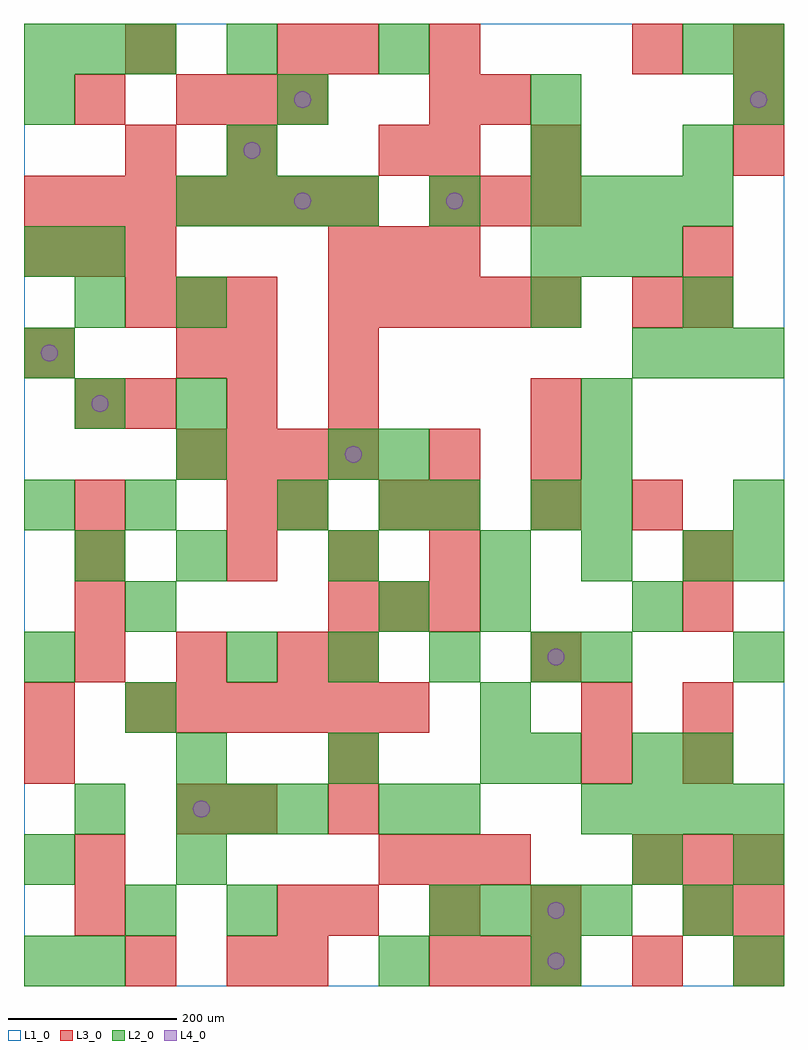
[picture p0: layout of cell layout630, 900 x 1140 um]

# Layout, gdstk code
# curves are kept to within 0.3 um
import gdstk
lib = gdstk.Library(unit=1e-6, precision=1e-09)
def R(c, l, rs):  # rectangles x0, y0, x1, y1
    for r in rs: c.add(gdstk.rectangle(r[:2], r[2:], *l))
def A(c, l, x, y, w, h, nx, ny, dx, dy):  # array of equal rectangles
    R(c, l, [(x+i*dx, y+j*dy, x+i*dx+w, y+j*dy+h) for i in range(nx) for j in range(ny)])
def P(c, l, *ps):  # polygons
    for p in ps: c.add(gdstk.Polygon(p, *l))
L1_0 = (1, 0)
L2_0 = (2, 0)
L3_0 = (3, 0)
L4_0 = (4, 0)

layout630 = lib.new_cell('layout630')
R(layout630, L1_0, [(0,0,900,1140)])
A(layout630, L2_0, 480, 60, 60, 60, 4, 1, 60, 0)
A(layout630, L2_0, 180, 180, 60, 60, 3, 1, 60, 0)
A(layout630, L2_0, 480, 180, 60, 60, 1, 3, 0, 360)
A(layout630, L2_0, 660, 180, 60, 60, 4, 1, 60, 0)
A(layout630, L2_0, 180, 240, 60, 60, 3, 2, 180, 240)
A(layout630, L2_0, 120, 300, 60, 60, 1, 3, 0, 120)
A(layout630, L2_0, 0, 360, 60, 60, 1, 3, 0, 180)
A(layout630, L2_0, 240, 360, 60, 60, 4, 1, 120, 0)
A(layout630, L2_0, 660, 480, 60, 60, 1, 4, 0, 60)
A(layout630, L2_0, 720, 720, 60, 60, 3, 1, 60, 0)
A(layout630, L2_0, 600, 840, 60, 60, 3, 1, 60, 0)
A(layout630, L2_0, 180, 900, 60, 60, 4, 1, 60, 0)
A(layout630, L2_0, 600, 900, 60, 60, 4, 1, 60, 0)
A(layout630, L2_0, 0, 1020, 60, 60, 3, 1, 300, 0)
A(layout630, L2_0, 0, 1080, 60, 60, 3, 1, 60, 0)
R(layout630, L2_0, [(0,0,60,60), (60,0,120,60), (420,0,480,60), (600,0,660,60), (840,0,900,60), (120,60,180,120), (240,60,300,120), (780,60,840,120), (0,120,60,180), (180,120,240,180), (720,120,780,180), (840,120,900,180), (60,180,120,240), (420,180,480,240), (600,240,660,300), (720,240,780,300), (780,240,840,300), (540,300,600,360), (660,360,720,420), (840,360,900,420), (420,420,480,480), (540,420,600,480), (720,420,780,480), (60,480,120,540), (780,480,840,540), (840,480,900,540), (300,540,360,600), (420,540,480,600), (600,540,660,600), (840,540,900,600), (180,600,240,660), (360,600,420,660), (420,600,480,660), (60,660,120,720), (180,660,240,720), (60,780,120,840), (180,780,240,840), (600,780,660,840), (780,780,840,840), (0,840,60,900), (60,840,120,900), (240,960,300,1020), (600,960,660,1020), (780,960,840,1020), (840,1020,900,1080), (240,1080,300,1140), (420,1080,480,1140), (780,1080,840,1140), (840,1080,900,1140)])
A(layout630, L3_0, 480, 0, 60, 60, 3, 2, 60, 900)
A(layout630, L3_0, 360, 60, 60, 60, 3, 1, 120, 0)
A(layout630, L3_0, 420, 120, 60, 60, 3, 1, 60, 0)
A(layout630, L3_0, 720, 120, 60, 60, 3, 1, 60, 0)
A(layout630, L3_0, 120, 300, 60, 60, 6, 1, 60, 0)
A(layout630, L3_0, 60, 360, 60, 60, 3, 1, 120, 0)
A(layout630, L3_0, 360, 360, 60, 60, 1, 3, 0, 360)
A(layout630, L3_0, 60, 420, 60, 60, 1, 3, 0, 60)
A(layout630, L3_0, 360, 420, 60, 60, 3, 2, 60, 420)
A(layout630, L3_0, 240, 480, 60, 60, 3, 1, 120, 0)
A(layout630, L3_0, 480, 540, 60, 60, 3, 1, 120, 0)
A(layout630, L3_0, 180, 600, 60, 60, 4, 1, 60, 0)
A(layout630, L3_0, 120, 660, 60, 60, 3, 1, 120, 0)
A(layout630, L3_0, 120, 780, 60, 60, 3, 1, 60, 0)
A(layout630, L3_0, 360, 780, 60, 60, 5, 1, 60, 0)
A(layout630, L3_0, 0, 840, 60, 60, 3, 1, 60, 0)
A(layout630, L3_0, 0, 900, 60, 60, 7, 1, 60, 0)
A(layout630, L3_0, 480, 960, 60, 60, 1, 3, 0, 60)
A(layout630, L3_0, 840, 960, 60, 60, 1, 3, 0, 60)
A(layout630, L3_0, 180, 1020, 60, 60, 3, 1, 60, 0)
R(layout630, L3_0, [(120,0,180,60), (240,0,300,60), (300,0,360,60), (720,0,780,60), (840,0,900,60), (60,60,120,120), (300,60,360,120), (780,60,840,120), (840,60,900,120), (60,120,120,180), (180,180,240,240), (240,180,300,240), (360,180,420,240), (0,240,60,300), (360,240,420,300), (660,240,720,300), (780,240,840,300), (0,300,60,360), (660,300,720,360), (780,300,840,360), (600,360,660,420), (780,420,840,480), (780,480,840,540), (240,540,300,600), (300,540,360,600), (420,540,480,600), (480,600,540,660), (600,600,660,660), (60,660,120,720), (600,660,660,720), (0,720,60,780), (180,720,240,780), (240,720,300,780), (720,780,780,840), (780,780,840,840), (780,840,840,900), (120,960,180,1020), (240,960,300,1020), (420,960,480,1020), (600,960,660,1020), (60,1020,120,1080), (540,1020,600,1080), (120,1080,180,1140), (300,1080,360,1140), (720,1080,780,1140)])
P(layout630, L4_0, [(40,750),(39.239,753.827),(37.071,757.071),(33.827,759.239),(30,760),(26.173,759.239),(22.929,757.071),(20.761,753.827),(20,750),(20.761,746.173),(22.929,742.929),(26.173,740.761),(30,740),(33.827,740.761),(37.071,742.929),(39.239,746.173)],
  [(100,690),(99.239,693.827),(97.071,697.071),(93.827,699.239),(90,700),(86.173,699.239),(82.929,697.071),(80.761,693.827),(80,690),(80.761,686.173),(82.929,682.929),(86.173,680.761),(90,680),(93.827,680.761),(97.071,682.929),(99.239,686.173)],
  [(220,210),(219.239,213.827),(217.071,217.071),(213.827,219.239),(210,220),(206.173,219.239),(202.929,217.071),(200.761,213.827),(200,210),(200.761,206.173),(202.929,202.929),(206.173,200.761),(210,200),(213.827,200.761),(217.071,202.929),(219.239,206.173)],
  [(280,990),(279.239,993.827),(277.071,997.071),(273.827,999.239),(270,1000),(266.173,999.239),(262.929,997.071),(260.761,993.827),(260,990),(260.761,986.173),(262.929,982.929),(266.173,980.761),(270,980),(273.827,980.761),(277.071,982.929),(279.239,986.173)],
  [(340,930),(339.239,933.827),(337.071,937.071),(333.827,939.239),(330,940),(326.173,939.239),(322.929,937.071),(320.761,933.827),(320,930),(320.761,926.173),(322.929,922.929),(326.173,920.761),(330,920),(333.827,920.761),(337.071,922.929),(339.239,926.173)],
  [(340,1050),(339.239,1053.827),(337.071,1057.071),(333.827,1059.239),(330,1060),(326.173,1059.239),(322.929,1057.071),(320.761,1053.827),(320,1050),(320.761,1046.173),(322.929,1042.929),(326.173,1040.761),(330,1040),(333.827,1040.761),(337.071,1042.929),(339.239,1046.173)],
  [(400,630),(399.239,633.827),(397.071,637.071),(393.827,639.239),(390,640),(386.173,639.239),(382.929,637.071),(380.761,633.827),(380,630),(380.761,626.173),(382.929,622.929),(386.173,620.761),(390,620),(393.827,620.761),(397.071,622.929),(399.239,626.173)],
  [(520,930),(519.239,933.827),(517.071,937.071),(513.827,939.239),(510,940),(506.173,939.239),(502.929,937.071),(500.761,933.827),(500,930),(500.761,926.173),(502.929,922.929),(506.173,920.761),(510,920),(513.827,920.761),(517.071,922.929),(519.239,926.173)],
  [(640,30),(639.239,33.827),(637.071,37.071),(633.827,39.239),(630,40),(626.173,39.239),(622.929,37.071),(620.761,33.827),(620,30),(620.761,26.173),(622.929,22.929),(626.173,20.761),(630,20),(633.827,20.761),(637.071,22.929),(639.239,26.173)],
  [(640,90),(639.239,93.827),(637.071,97.071),(633.827,99.239),(630,100),(626.173,99.239),(622.929,97.071),(620.761,93.827),(620,90),(620.761,86.173),(622.929,82.929),(626.173,80.761),(630,80),(633.827,80.761),(637.071,82.929),(639.239,86.173)],
  [(640,390),(639.239,393.827),(637.071,397.071),(633.827,399.239),(630,400),(626.173,399.239),(622.929,397.071),(620.761,393.827),(620,390),(620.761,386.173),(622.929,382.929),(626.173,380.761),(630,380),(633.827,380.761),(637.071,382.929),(639.239,386.173)],
  [(880,1050),(879.239,1053.827),(877.071,1057.071),(873.827,1059.239),(870,1060),(866.173,1059.239),(862.929,1057.071),(860.761,1053.827),(860,1050),(860.761,1046.173),(862.929,1042.929),(866.173,1040.761),(870,1040),(873.827,1040.761),(877.071,1042.929),(879.239,1046.173)])

lib.write_gds('layout630.gds')
